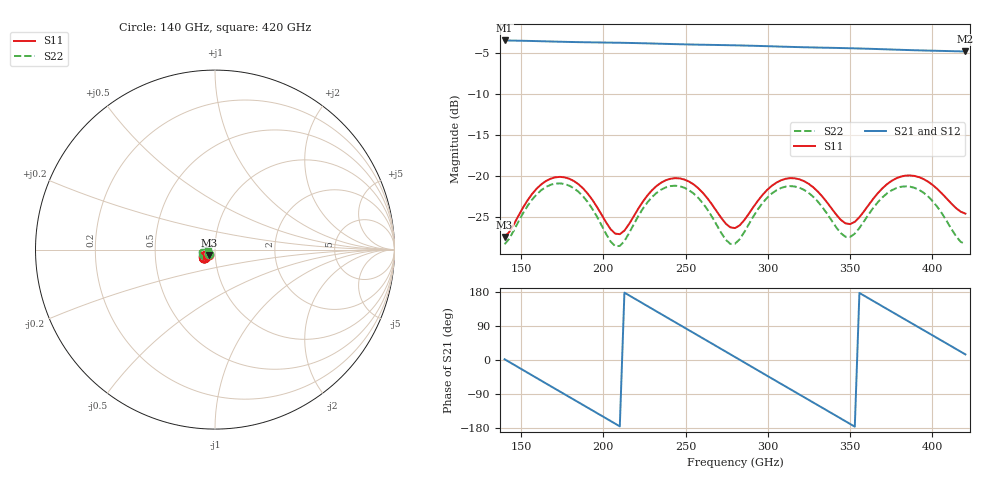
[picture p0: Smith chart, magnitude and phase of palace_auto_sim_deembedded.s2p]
! Created with skrf 1.11.0 (http://scikit-rf.org).
# GHz S DB R 50.0
!freq dBS11 angS11 dBS21 angS21 dBS12 angS12 dBS22 angS22
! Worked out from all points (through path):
!   101 points, 140 GHz to 420 GHz, reference 50 ohm
!   highest |S21| = -3.44 dB at 140 GHz (marker M1); lowest = -4.8 dB at 420 GHz (marker M2)
!   group delay of S21, straight-line fit = 7.02 ps
!   lowest |S11| = -27.4 dB at 140 GHz (marker M3), VSWR 1.09, Z = 46.9 - j2.79 ohm
!   |S11| at or under -10 dB: start of sweep to end of sweep
!   |S22| runs from -28.5 to -20.8 dB; largest |S21 - S12| = 1.1e-13
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140  -27.37 -136.2  -3.44 1.9  -3.44 1.9  -28.27 -142.9
151.2  -23.80 -118.7  -3.48 -26.5  -3.48 -26.5  -24.48 -127.0
165.2  -20.55 -131.5  -3.55 -62.0  -3.55 -62.0  -21.28 -141.9
176.4  -20.11 -147.9  -3.61 -90.3  -3.61 -90.3  -20.93 -159.8
187.6  -21.45 -162.6  -3.66 -118.5  -3.66 -118.5  -22.41 -175.8
204.4  -26.42 -158.4  -3.71 -160.9  -3.71 -160.9  -27.93 -171.4
212.8  -26.60 -134.3  -3.74 177.8  -3.74 177.8  -27.87 -144.7
224  -23.07 -123.7  -3.78 149.4  -3.78 149.4  -23.94 -136.0
235.2  -20.75 -133.3  -3.84 121.0  -3.84 121.0  -21.61 -148.1
254.8  -20.97 -158.2  -3.94 71.5  -3.94 71.5  -22.07 -176.3
268.8  -24.23 -163.9  -3.99 36.2  -3.99 36.2  -25.89 176.9
280  -26.29 -142.8  -4.04 7.9  -4.04 7.9  -28.20 -157.1
291.2  -23.72 -125.3  -4.09 -20.5  -4.09 -20.5  -24.86 -139.6
305.2  -20.75 -133.0  -4.18 -55.9  -4.18 -55.9  -21.69 -151.0
316.4  -20.23 -146.3  -4.24 -84.1  -4.24 -84.1  -21.23 -166.5
327.6  -21.33 -158.1  -4.30 -112.3  -4.30 -112.3  -22.49 179.8
341.6  -24.67 -157.6  -4.35 -147.6  -4.35 -147.6  -26.23 179.6
352.8  -25.53 -134.1  -4.41 -176.0  -4.41 -176.0  -26.97 -155.0
375.2  -20.54 -129.5  -4.55 127.5  -4.55 127.5  -21.70 -155.8
386.4  -19.88 -141.6  -4.62 99.3  -4.62 99.3  -21.25 -170.8
397.6  -20.68 -152.7  -4.68 71.2  -4.68 71.2  -22.49 175.3
420  -24.53 -143.4  -4.79 14.8  -4.79 14.8  -28.24 -168.5
